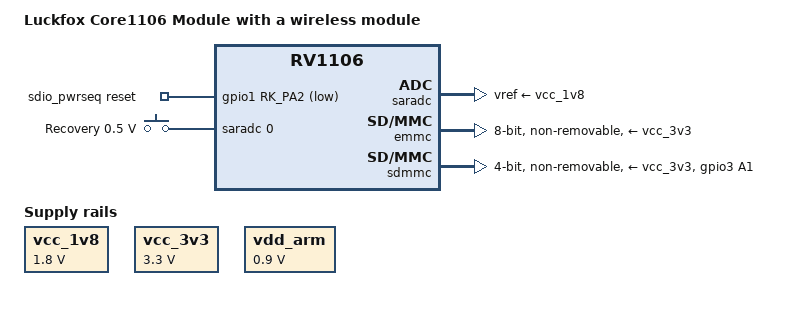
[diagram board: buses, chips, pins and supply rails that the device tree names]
// SPDX-License-Identifier: (GPL-2.0+ OR MIT)
/*
 * Copyright (c) 2022 Rockchip Electronics Co., Ltd.
 */

#include "rv1106.dtsi"
#include <dt-bindings/input/input.h>

/ {
	model = "Luckfox Core1106 Module with a wireless module";
	compatible = "luckfox,core1106-w","rockchip,rv1106";

	vcc_1v8: vcc-1v8 {
		compatible = "regulator-fixed";
		regulator-name = "vcc_1v8";
		regulator-always-on;
		regulator-boot-on;
		regulator-min-microvolt = <1800000>;
		regulator-max-microvolt = <1800000>;
	};

	vcc_3v3: vcc-3v3 {
		compatible = "regulator-fixed";
		regulator-name = "vcc_3v3";
		regulator-always-on;
		regulator-boot-on;
		regulator-min-microvolt = <3300000>;
		regulator-max-microvolt = <3300000>;
	};

	vdd_arm: vdd-arm {
		compatible = "regulator-fixed";
		regulator-name = "vdd_arm";
		regulator-always-on;
		regulator-boot-on;
		regulator-min-microvolt = <900000>;
		regulator-max-microvolt = <900000>;
	};

	sdio_pwrseq: sdio-pwrseq {
		compatible = "mmc-pwrseq-simple";
		reset-gpios = <&gpio1 RK_PA2 GPIO_ACTIVE_LOW>;
	};

	adc-keys {
		compatible = "adc-keys";
		io-channels = <&saradc 0>;
		io-channel-names = "buttons";
		keyup-threshold-microvolt = <1000000>;
		poll-interval = <100>;

		button-recovery {
			label = "Recovery";
			linux,code = <KEY_SETUP>;
			press-threshold-microvolt = <500000>;
		};
	};
};

&cpu0_opp_table {
		/delete-node/ opp-1200000000;
		/delete-node/ opp-1296000000;
		/delete-node/ opp-1416000000;
		/delete-node/ opp-1512000000;
		/delete-node/ opp-1608000000;
};

&usbdrd_dwc3 {
	extcon = <&u2phy>;
};

&cpu0 {
	cpu-supply = <&vdd_arm>;
};

&saradc {
	status = "okay";
	vref-supply = <&vcc_1v8>;
};

&emmc {
	cap-mmc-highspeed;
	mmc-ddr-3_3v;
	bus-width = <8>;
	non-removable;
	rockchip,default-sample-phase = <90>;
	no-sdio;
	no-sd;
	disable-wp;
	status = "okay";

	pinctrl-names = "default";
	pinctrl-0 = <&emmc_bus8 &emmc_cmd &emmc_clk>;

	vqmmc-supply = <&vcc_3v3>;
	vmmc-supply = <&vcc_3v3>;
	no-1-8-v;
};

&pinctrl {
	sdmmc0 {
		/omit-if-no-ref/
		sdmmc0_det: sdmmc0-det {
			rockchip,pins =
				/* sdmmc0_det */
				<3 RK_PA1 1 &pcfg_pull_down>;
		};
	};
};

&sdmmc {
	max-frequency = <50000000>;
	bus-width = <4>;
	cap-sd-highspeed;
	cap-sdio-irq;
	keep-power-in-suspend;
	non-removable;
	rockchip,default-sample-phase = <90>;
	no-sd;
	no-mmc;
	disable-wp;
	mmc-pwrseq = <&sdio_pwrseq>;
	status = "okay";

	pinctrl-names = "default";
	pinctrl-0 = <&sdmmc0_clk &sdmmc0_cmd &sdmmc0_bus4 &sdmmc0_det>;

	vqmmc-supply = <&vcc_3v3>;
	vmmc-supply = <&vcc_3v3>;
	no-1-8-v;
};
